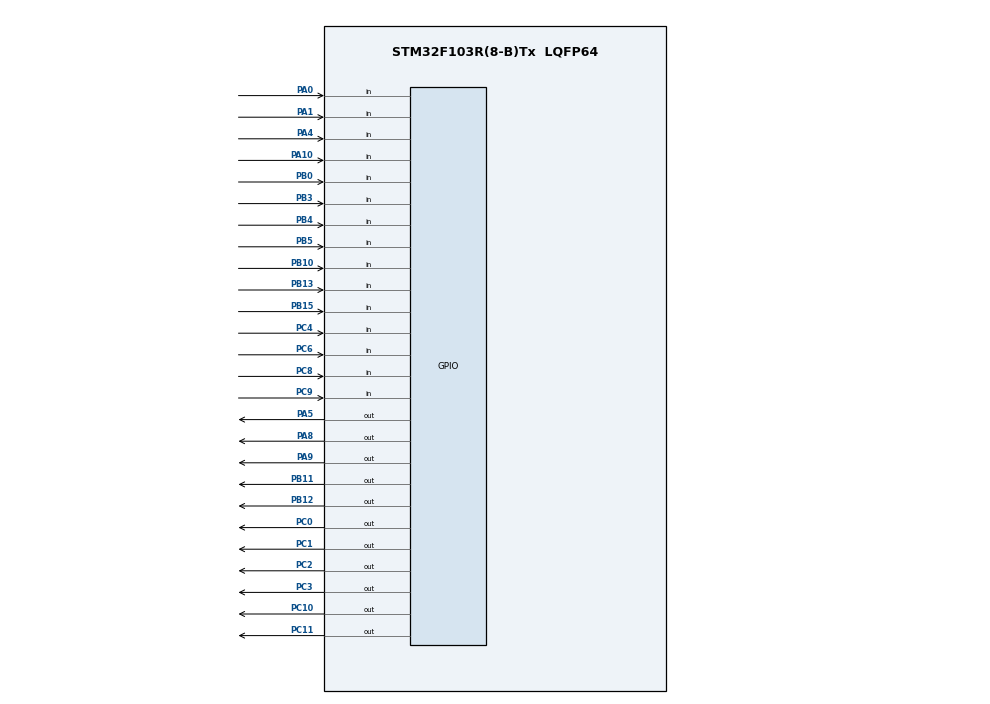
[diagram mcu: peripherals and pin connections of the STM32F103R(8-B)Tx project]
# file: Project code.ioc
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Mcu.Family=STM32F1
PC10.Signal=GPIO_Output
PC11.Signal=GPIO_Output
PC8.Signal=GPIO_Input
PC2.Signal=GPIO_Output
PC4.Signal=GPIO_Input
PC6.Signal=GPIO_Input
PC0.Signal=GPIO_Output
PB11.Signal=GPIO_Output
VP_SYS_VS_ND.Mode=No_Debug
PB15.Signal=GPIO_Input
PB13.Signal=GPIO_Input
ProjectManager.StackSize=0x400
PA0-WKUP.Signal=GPIO_Input
ProjectManager.TargetToolchain=STM32CubeIDE
PA9.Signal=GPIO_Output
PC3.Signal=GPIO_Output
TIM4.Prescaler=49999
PA1.Signal=GPIO_Input
PB10.Signal=GPIO_Input
PA5.Signal=GPIO_Output
board=custom
VP_TIM4_VS_no_output1.Mode=PWM Generation1 No Output
RCC.APB2Freq_Value=8000000
TIM4.Channel-PWM\ Generation1\ No\ Output=TIM_CHANNEL_1
PA8.Signal=GPIO_Output
TIM4.Period=4000
Mcu.Name=STM32F103R(8-B)Tx
PB3.Signal=GPIO_Input
PA4.Signal=GPIO_Input
Mcu.Package=LQFP64
PB5.Signal=GPIO_Input
PA10.Signal=GPIO_Input
ProjectManager.HeapSize=0x200
VP_TIM4_VS_ClockSourceINT.Mode=Internal
NVIC.PriorityGroup=NVIC_PRIORITYGROUP_4
RCC.APB1TimFreq_Value=8000000
PC9.Signal=GPIO_Input
RCC.APB1Freq_Value=8000000
PB0.Signal=GPIO_Input
PC1.Signal=GPIO_Output
PB12.Signal=GPIO_Output
PB4.Signal=GPIO_Input

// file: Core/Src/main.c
/* USER CODE BEGIN Header */
/**
 ******************************************************************************
 * @Authors        : Wangwe Paul | Gunjeet Dhaliwal | Gurinder Brar | Vitalii Andriievskyi
 * @file           : main.c
 * @brief          : Main program body
 * @Version	   : Version 1.0 - Rough code for the robot to move.
 		   : Version 1.1 - Coordination between motors and sensors was unsuccessful.
		   : Version 1.2 - Implementation and communincation between the two microcontrollers.
		   : Version 1.3 - The final version. Calibrating the sensors and motors all together.
 ******************************************************************************
 *Purpose: code used for the Semi-Autonomous UV-C Disinfectant Robot
 *Works like a state machine
 *state 1 idle state
 *state 2 check for motion
 *state 3 move robot foward
 *state 4 big right turn
 *state 5 minor left turn
 *state 6 minor right turn
 *state 7 big left turn
 *state 8 move robot in reverse
 **Port mapping
 *Motion Sensors(F,R,L,B)
 *Inputs : Front - PB10
 	   Left  - PB15
	   Right - PA10
	   Rear  - PB3
 *Ultrasonic Sensors(F,R,L,B)
 *Triggers/Outputs: Front - PC1
 		    Right - PC0
		    Left  - PC2
		    Rear  - PC3
 *Echo/Inputs:      Front - PB5
 		    Right - PB4
		    Left  - PB14
		    Rear  - PB13
 *Infrared sensors(FR, FL, BR, Bl)
 *Inputs: Front-Right - PA0
 	  Front-Left  - PA1
	  Rear-Right  - PA4
	  Rear-Left   - PB0
 *Motors
 *motors are controlled by another microcontorller
 *so the following ports are mutually exclusive
 *foward movement   - PC11
 *turing right      - PC10
 *turning left      - PB12
 *backward movement - PB11
 *stop              - PC12
 *pin used to sense if the extension cord is winding/unwinding.
 *winch pin         - PC4
 *pin used to indicate when the task to disinfect is complete.
 *end operation     - PC9
 *Light Control
 *When PA9 is high(motion detected, the UV-c light turns off
 ******************************************************************************
 */
/* USER CODE END Header */
#include "main.h"

TIM_HandleTypeDef htim4;

void SystemClock_Config(void);
static void MX_GPIO_Init(void);
static void MX_TIM4_Init(void);
/* USER CODE BEGIN PFP */
void Motors_Fw(void);
void Motors_Rv(void);
void Turn_R(void);
void Turn_L(void);
void Motors_Stp(void);
void Delay(uint32_t count);

uint16_t ultraSonicF(void);
uint16_t ultraSonicR(void);
uint16_t ultraSonicL(void);
uint16_t ultraSonicB(void);

int state = 1; //shows the state the robot is in
// 1 default state robot waits 5 minutes before turning on light
// 2 Robot can move
// 3 Robot stops to check surroundings
// 4 Robot turns because of obstacle ahead
// 5 Robot turns because of right ir sensor
// 6 Robot turns because of left ir sensor
// 7 Robot reversing

const uint32_t motorDelay = 480;
//used to control the delay of the motor
//higher -> slower rotation and lower -> faster rotation

const uint16_t defVal = 4000;
//used as default value for distance measurement using ultrasonic
//distance value will never be 4000

const uint16_t obstDistance = 16;
//maximum distance from robot to obstacle when moving ahead
const uint16_t obstDistance2 = 10;
//maximum distance from robot to obstacle when turning
const uint16_t turnDist = 150;
//maximum distance from robot to obstacle when turning

const uint16_t idleTime = 250;
//time the robot spend idle
const uint16_t moveTime = 10;
//time the robot spend moving foward or backward
const uint16_t turnTime=5;
//time the robot spends doing big turns
const uint16_t turnTime2=2;
//time the robot spends doing smaller turns
const uint16_t checkTime=6;
//time the robot spends checking for motion

/* USER CODE END PFP */

int main(void) {

	/* MCU Configuration--------------------------------------------------------*/

	/* Reset of all peripherals, Initializes the Flash interface and the Systick. */
	HAL_Init();

	/* Configure the system clock */
	SystemClock_Config();

	/* Initialize all configured peripherals */
	MX_GPIO_Init();
	MX_TIM4_Init();
	/* USER CODE BEGIN 2 */
	HAL_TIM_PWM_Start(&htim4, 1);
	int Secs = 0;
	// where 15 is approximately to 10 seconds
	int timcounter = 0;
	uint16_t frontDistance = 0;
	uint16_t rightDistance = 0;
	uint16_t leftDistance = 0;
	uint16_t backDistance = 0;
	/* USER CODE END 2 */

	/* Infinite loop */
	/* USER CODE BEGIN WHILE */
	while (1) {
		if (state == 1) {
			//TURN OFF UVC LIGHT
			HAL_GPIO_WritePin(GPIOA, GPIO_PIN_8, GPIO_PIN_RESET);
			Motors_Stp();
			Secs = 0; //reset counter used for timing
			__HAL_TIM_SET_COUNTER(&htim4, 0); //reset timer
			while (Secs <= idleTime) {
				timcounter = __HAL_TIM_GET_COUNTER(&htim4);
				if (timcounter > 105) {
					Secs++;
					__HAL_TIM_SET_COUNTER(&htim4, 0);
				}
			}
			//output from second microcontroller which is high when robot has gone foward and come back
			if (HAL_GPIO_ReadPin(GPIOC, GPIO_PIN_9)) {
				state = 1;
			} else {
				state = 2;
			}

		}
		if (state == 2) {

			Secs = 0; //reset counter used for timing
			Motors_Stp();
			__HAL_TIM_SET_COUNTER(&htim4, 0); //reset timer
			while (Secs <=checkTime) {
				if ((HAL_GPIO_ReadPin(GPIOB, GPIO_PIN_10))
						|| (HAL_GPIO_ReadPin(GPIOB, GPIO_PIN_15))
						|| (HAL_GPIO_ReadPin(GPIOB, GPIO_PIN_3))
						|| (HAL_GPIO_ReadPin(GPIOA, GPIO_PIN_10))) {
					state = 1;
					Secs = 8;
				}
				//checks if output from second microcontroller which goes high if all the extension cord has been uncound
				else if (HAL_GPIO_ReadPin(GPIOC, GPIO_PIN_4)) {
					state = 8;
				} else {
					state = 3;
				}
				timcounter = __HAL_TIM_GET_COUNTER(&htim4);
				if (timcounter > 105) {
					Secs++;
					__HAL_TIM_SET_COUNTER(&htim4, 0);
				}
			}
		}
		if (state == 3) {
			//TURN ON UVC LIGHT
			HAL_GPIO_WritePin(GPIOA, GPIO_PIN_8, GPIO_PIN_SET);
			Secs = 0; //reset counter used for timing
			__HAL_TIM_SET_COUNTER(&htim4, 0); //reset timer
			while (Secs <= moveTime) {
				Motors_Fw();
				if (Secs == 0 || Secs == 3 || Secs == 6) {
					Motors_Stp();
					frontDistance = ultraSonicF();
					rightDistance = ultraSonicF();
					leftDistance = ultraSonicF();
					if (frontDistance < obstDistance
							&& rightDistance > obstDistance2
							&& leftDistance > obstDistance2) {
						state = 4;
						Secs = moveTime+1;
					}
					if (frontDistance < obstDistance
							&& rightDistance > obstDistance2
							&& leftDistance < obstDistance2) {
						state = 4;
						Secs = moveTime+1;
					}
					if (frontDistance < obstDistance
							&& rightDistance < obstDistance2
							&& leftDistance > obstDistance2) {
						state = 7;
						Secs = moveTime+1;
					}

				}
				//front right IR sensor
				else if (!HAL_GPIO_ReadPin(GPIOA, GPIO_PIN_0)) {
					state = 5;
					Secs = moveTime+1;
				}
				// front left IR sensor
				else if (!HAL_GPIO_ReadPin(GPIOA, GPIO_PIN_1)) {
					state = 6;
					Secs = moveTime+1;
				}
				timcounter = __HAL_TIM_GET_COUNTER(&htim4);
				if (timcounter > 105) {
					Secs++;
					__HAL_TIM_SET_COUNTER(&htim4, 0);
				}
			}
			if (state == 3) {
				state = 2;
			}

		}

		if (state == 4) {
			Motors_Stp();
			HAL_Delay(2000);
			Secs = 0; //reset counter used for timing
			__HAL_TIM_SET_COUNTER(&htim4, 0); //reset timer
			while (Secs <= turnTime) {
				Turn_R();
				timcounter = __HAL_TIM_GET_COUNTER(&htim4);
				if (timcounter > 105) {
					Secs++;
					__HAL_TIM_SET_COUNTER(&htim4, 0);
				}
			}
			Motors_Stp();
			state = 2;
		}
		if (state == 5) {
			Motors_Stp();
			HAL_Delay(2000);
			Secs = 0; //reset counter used for timing
			__HAL_TIM_SET_COUNTER(&htim4, 0); //reset timer
			while (Secs <= turnTime2) {
				Turn_L();
				timcounter = __HAL_TIM_GET_COUNTER(&htim4);
				if (timcounter > 105) {
					Secs++;
					__HAL_TIM_SET_COUNTER(&htim4, 0);
				}
			}
			Motors_Stp();
			state = 2;
		}
		if (state == 6) {
			Motors_Stp();
			HAL_Delay(2000);
			Secs = 0; //reset counter used for timing
			__HAL_TIM_SET_COUNTER(&htim4, 0); //reset timer
			while (Secs <= TurnTime2) {
				Turn_R();
				timcounter = __HAL_TIM_GET_COUNTER(&htim4);
				if (timcounter > 105) {
					Secs++;
					__HAL_TIM_SET_COUNTER(&htim4, 0);
				}
			}
			Motors_Stp();
			state = 2;
		}
		if (state == 7) {
			Motors_Stp();
			HAL_Delay(2000);
			Secs = 0; //reset counter used for timing
			__HAL_TIM_SET_COUNTER(&htim4, 0); //reset timer
			while (Secs <=turnTime) {
				Turn_L();
				timcounter = __HAL_TIM_GET_COUNTER(&htim4);
				if (timcounter > 105) {
					Secs++;
					__HAL_TIM_SET_COUNTER(&htim4, 0);
				}
			}
			Motors_Stp();
			state = 2;
		}
		if (state == 8) {
			//TURN ON UVC LIGHT
			HAL_GPIO_WritePin(GPIOA, GPIO_PIN_8, GPIO_PIN_SET);
			Secs = 0; //reset counter used for timing
			__HAL_TIM_SET_COUNTER(&htim4, 0); //reset timer
			while (Secs <= moveTime) {
				Motors_Rv();
				if (Secs == 0 || Secs == 3 || Secs == 6) {
					Motors_Stp();
					backDistance = ultraSonicF();
					rightDistance = ultraSonicF();
					leftDistance = ultraSonicF();
					if (backDistance < obstDistance
							&& rightDistance > obstDistance2
							&& leftDistance > obstDistance2) {
						state = 4;
						Secs = moveTime+1;
					}
					if (backDistance < obstDistance
							&& rightDistance > obstDistance2
							&& leftDistance < obstDistance2) {
						state = 7;
						Secs = moveTime+1;
					}
					if (backDistance < obstDistance
							&& rightDistance < obstDistance2
							&& leftDistance > obstDistance2) {
						state = 4;
						Secs = moveTime+1;
					}
				}
				//back left IR sensor
				else if (!HAL_GPIO_ReadPin(GPIOA, GPIO_PIN_0)) {
					state = 5;
					Secs = moveTime+1;
				}
				//back right IR sensor
				else if (!HAL_GPIO_ReadPin(GPIOA, GPIO_PIN_1)) {
					state = 6;
					Secs = moveTime+1;
				}
				timcounter = __HAL_TIM_GET_COUNTER(&htim4);
				if (timcounter > 105) {
					Secs++;
					__HAL_TIM_SET_COUNTER(&htim4, 0);
				}
			}
			if (state == 8) {
				state = 2;
			}

		}

	}
	/* USER CODE END WHILE */

}

void SystemClock_Config(void) {
	RCC_OscInitTypeDef RCC_OscInitStruct = { 0 };
	RCC_ClkInitTypeDef RCC_ClkInitStruct = { 0 };

	/** Initializes the RCC Oscillators according to the specified parameters
	 * in the RCC_OscInitTypeDef structure.
	 */
	RCC_OscInitStruct.OscillatorType = RCC_OSCILLATORTYPE_HSI;
	RCC_OscInitStruct.HSIState = RCC_HSI_ON;
	RCC_OscInitStruct.HSICalibrationValue = RCC_HSICALIBRATION_DEFAULT;
	RCC_OscInitStruct.PLL.PLLState = RCC_PLL_NONE;
	if (HAL_RCC_OscConfig(&RCC_OscInitStruct) != HAL_OK) {
		Error_Handler();
	}
	/** Initializes the CPU, AHB and APB buses clocks
	 */
	RCC_ClkInitStruct.ClockType = RCC_CLOCKTYPE_HCLK | RCC_CLOCKTYPE_SYSCLK
			| RCC_CLOCKTYPE_PCLK1 | RCC_CLOCKTYPE_PCLK2;
	RCC_ClkInitStruct.SYSCLKSource = RCC_SYSCLKSOURCE_HSI;
	RCC_ClkInitStruct.AHBCLKDivider = RCC_SYSCLK_DIV1;
	RCC_ClkInitStruct.APB1CLKDivider = RCC_HCLK_DIV1;
	RCC_ClkInitStruct.APB2CLKDivider = RCC_HCLK_DIV1;

	if (HAL_RCC_ClockConfig(&RCC_ClkInitStruct, FLASH_LATENCY_0) != HAL_OK) {
		Error_Handler();
	}
}

static void MX_TIM4_Init(void) {

	TIM_ClockConfigTypeDef sClockSourceConfig = { 0 };
	TIM_MasterConfigTypeDef sMasterConfig = { 0 };
	TIM_OC_InitTypeDef sConfigOC = { 0 };

	htim4.Instance = TIM4;
	htim4.Init.Prescaler = 49999;
	htim4.Init.CounterMode = TIM_COUNTERMODE_UP;
	htim4.Init.Period = 4000;
	htim4.Init.ClockDivision = TIM_CLOCKDIVISION_DIV1;
	htim4.Init.AutoReloadPreload = TIM_AUTORELOAD_PRELOAD_DISABLE;
	if (HAL_TIM_Base_Init(&htim4) != HAL_OK) {
		Error_Handler();
	}
	sClockSourceConfig.ClockSource = TIM_CLOCKSOURCE_INTERNAL;
	if (HAL_TIM_ConfigClockSource(&htim4, &sClockSourceConfig) != HAL_OK) {
		Error_Handler();
	}
	if (HAL_TIM_PWM_Init(&htim4) != HAL_OK) {
		Error_Handler();
	}
	sMasterConfig.MasterOutputTrigger = TIM_TRGO_RESET;
	sMasterConfig.MasterSlaveMode = TIM_MASTERSLAVEMODE_DISABLE;
	if (HAL_TIMEx_MasterConfigSynchronization(&htim4, &sMasterConfig)
			!= HAL_OK) {
		Error_Handler();
	}
	sConfigOC.OCMode = TIM_OCMODE_PWM1;
	sConfigOC.Pulse = 0;
	sConfigOC.OCPolarity = TIM_OCPOLARITY_HIGH;
	sConfigOC.OCFastMode = TIM_OCFAST_DISABLE;
	if (HAL_TIM_PWM_ConfigChannel(&htim4, &sConfigOC, TIM_CHANNEL_1)
			!= HAL_OK) {
		Error_Handler();
	}

}

static void MX_GPIO_Init(void) {
	GPIO_InitTypeDef GPIO_InitStruct = { 0 };

	/* GPIO Ports Clock Enable */
	__HAL_RCC_GPIOC_CLK_ENABLE();
	__HAL_RCC_GPIOA_CLK_ENABLE();
	__HAL_RCC_GPIOB_CLK_ENABLE();

	/*Configure GPIO pin Output Level */
	HAL_GPIO_WritePin(GPIOC,
			GPIO_PIN_0 | GPIO_PIN_1 | GPIO_PIN_2 | GPIO_PIN_3 | GPIO_PIN_10
					| GPIO_PIN_11, GPIO_PIN_RESET);

	/*Configure GPIO pin Output Level */
	HAL_GPIO_WritePin(GPIOA, GPIO_PIN_5 | GPIO_PIN_8 | GPIO_PIN_9,
			GPIO_PIN_RESET);

	/*Configure GPIO pin Output Level */
	HAL_GPIO_WritePin(GPIOB, GPIO_PIN_11 | GPIO_PIN_12, GPIO_PIN_RESET);

	/*Configure GPIO pins : PC0 PC1 PC2 PC3
	 PC10 PC11 */
	GPIO_InitStruct.Pin = GPIO_PIN_0 | GPIO_PIN_1 | GPIO_PIN_2 | GPIO_PIN_3
			| GPIO_PIN_10 | GPIO_PIN_11;
	GPIO_InitStruct.Mode = GPIO_MODE_OUTPUT_PP;
	GPIO_InitStruct.Pull = GPIO_NOPULL;
	GPIO_InitStruct.Speed = GPIO_SPEED_FREQ_LOW;
	HAL_GPIO_Init(GPIOC, &GPIO_InitStruct);

	/*Configure GPIO pins : PA0 PA1 PA4 PA10 */
	GPIO_InitStruct.Pin =
	GPIO_PIN_0 | GPIO_PIN_1 | GPIO_PIN_4 | GPIO_PIN_10;
	GPIO_InitStruct.Mode = GPIO_MODE_INPUT;
	GPIO_InitStruct.Pull = GPIO_NOPULL;
	HAL_GPIO_Init(GPIOA, &GPIO_InitStruct);

	/*Configure GPIO pins : PA5 PA8 PA9 */
	GPIO_InitStruct.Pin = GPIO_PIN_5 | GPIO_PIN_8 | GPIO_PIN_9;
	GPIO_InitStruct.Mode = GPIO_MODE_OUTPUT_PP;
	GPIO_InitStruct.Pull = GPIO_NOPULL;
	GPIO_InitStruct.Speed = GPIO_SPEED_FREQ_LOW;
	HAL_GPIO_Init(GPIOA, &GPIO_InitStruct);

	/*Configure GPIO pins : PC4 PC6 PC8 PC9 */
	GPIO_InitStruct.Pin = GPIO_PIN_4 | GPIO_PIN_6 | GPIO_PIN_8 | GPIO_PIN_9;
	GPIO_InitStruct.Mode = GPIO_MODE_INPUT;
	GPIO_InitStruct.Pull = GPIO_NOPULL;
	HAL_GPIO_Init(GPIOC, &GPIO_InitStruct);

	/*Configure GPIO pins : PB0 PB10 PB13 PB15
	 PB3 PB4 PB5 */
	GPIO_InitStruct.Pin = GPIO_PIN_0 | GPIO_PIN_10 | GPIO_PIN_13 | GPIO_PIN_15
			| GPIO_PIN_3 | GPIO_PIN_4 | GPIO_PIN_5;
	GPIO_InitStruct.Mode = GPIO_MODE_INPUT;
	GPIO_InitStruct.Pull = GPIO_NOPULL;
	HAL_GPIO_Init(GPIOB, &GPIO_InitStruct);

	/*Configure GPIO pins : PB11 PB12 */
	GPIO_InitStruct.Pin = GPIO_PIN_11 | GPIO_PIN_12;
	GPIO_InitStruct.Mode = GPIO_MODE_OUTPUT_PP;
	GPIO_InitStruct.Pull = GPIO_NOPULL;
	GPIO_InitStruct.Speed = GPIO_SPEED_FREQ_LOW;
	HAL_GPIO_Init(GPIOB, &GPIO_InitStruct);

}

/* USER CODE BEGIN 4 */
void Delay(uint32_t count) {
	for (int i = 0; i < count; i++) {

	}
}
void Motors_Fw(void) {
	HAL_GPIO_WritePin(GPIOC, GPIO_PIN_11, GPIO_PIN_SET);
	HAL_GPIO_WritePin(GPIOC, GPIO_PIN_10, GPIO_PIN_RESET);
	HAL_GPIO_WritePin(GPIOB, GPIO_PIN_11, GPIO_PIN_RESET);
	HAL_GPIO_WritePin(GPIOB, GPIO_PIN_12, GPIO_PIN_RESET);
	HAL_GPIO_WritePin(GPIOC, GPIO_PIN_12, GPIO_PIN_RESET);
}
void Motors_Rv(void) {
	HAL_GPIO_WritePin(GPIOC, GPIO_PIN_11, GPIO_PIN_RESET);
	HAL_GPIO_WritePin(GPIOC, GPIO_PIN_10, GPIO_PIN_RESET);
	HAL_GPIO_WritePin(GPIOB, GPIO_PIN_11, GPIO_PIN_SET);
	HAL_GPIO_WritePin(GPIOB, GPIO_PIN_12, GPIO_PIN_RESET);
	HAL_GPIO_WritePin(GPIOC, GPIO_PIN_12, GPIO_PIN_RESET);
}
void Turn_L(void) {
	HAL_GPIO_WritePin(GPIOC, GPIO_PIN_11, GPIO_PIN_RESET);
	HAL_GPIO_WritePin(GPIOC, GPIO_PIN_10, GPIO_PIN_SET);
	HAL_GPIO_WritePin(GPIOB, GPIO_PIN_11, GPIO_PIN_RESET);
	HAL_GPIO_WritePin(GPIOB, GPIO_PIN_12, GPIO_PIN_RESET);
	HAL_GPIO_WritePin(GPIOC, GPIO_PIN_12, GPIO_PIN_RESET);
}
void Turn_R(void) {
	HAL_GPIO_WritePin(GPIOC, GPIO_PIN_11, GPIO_PIN_RESET);
	HAL_GPIO_WritePin(GPIOC, GPIO_PIN_10, GPIO_PIN_RESET);
	HAL_GPIO_WritePin(GPIOB, GPIO_PIN_11, GPIO_PIN_RESET);
	HAL_GPIO_WritePin(GPIOB, GPIO_PIN_12, GPIO_PIN_SET);
	HAL_GPIO_WritePin(GPIOC, GPIO_PIN_12, GPIO_PIN_RESET);
}
void Motors_Stp(void) {
	HAL_GPIO_WritePin(GPIOC, GPIO_PIN_11, GPIO_PIN_RESET);
	HAL_GPIO_WritePin(GPIOC, GPIO_PIN_10, GPIO_PIN_RESET);
	HAL_GPIO_WritePin(GPIOB, GPIO_PIN_11, GPIO_PIN_RESET);
	HAL_GPIO_WritePin(GPIOB, GPIO_PIN_12, GPIO_PIN_RESET);
	HAL_GPIO_WritePin(GPIOC, GPIO_PIN_12, GPIO_PIN_SET);
}
uint16_t ultraSonicR() {
	uint8_t status = 0;
	uint32_t distance = defVal;

	HAL_GPIO_WritePin(GPIOC, GPIO_PIN_0, GPIO_PIN_SET);
	HAL_Delay(0.001);
	HAL_GPIO_WritePin(GPIOC, GPIO_PIN_0, GPIO_PIN_RESET);
	HAL_Delay(0.01);

	if (HAL_GPIO_ReadPin(GPIOB, GPIO_PIN_4)) {
		status = 1;
		distance = 0;

		while (status == 1) {
			Delay(10);
			if (HAL_GPIO_ReadPin(GPIOB, GPIO_PIN_4)) {
				distance++;
			} else {
				status = 0;
			}
		}
	}

	return (distance);
}
uint16_t ultraSonicF() {
	uint8_t status = 0;
	uint32_t distance = defVal;

	HAL_GPIO_WritePin(GPIOC, GPIO_PIN_1, GPIO_PIN_SET);
	HAL_Delay(0.001);
	HAL_GPIO_WritePin(GPIOC, GPIO_PIN_1, GPIO_PIN_RESET);
	HAL_Delay(0.01);

	if (HAL_GPIO_ReadPin(GPIOB, GPIO_PIN_5)) {
		status = 1;
		distance = 0;

		while (status == 1) {
			Delay(10);
			if (HAL_GPIO_ReadPin(GPIOB, GPIO_PIN_5)) {
				distance++;
			} else {
				status = 0;
			}
//			if(distance>70)
//			{
//				status=0;
//				distance=defVal;
//			}
		}
	}
	return (distance);
}
uint16_t ultraSonicL() {
	uint8_t status = 0;
	uint32_t distance = defVal;

	HAL_GPIO_WritePin(GPIOC, GPIO_PIN_2, GPIO_PIN_SET);
	HAL_Delay(0.001);
	HAL_GPIO_WritePin(GPIOC, GPIO_PIN_2, GPIO_PIN_RESET);
	HAL_Delay(0.01);

	if (HAL_GPIO_ReadPin(GPIOB, GPIO_PIN_14)) {
		status = 1;
		distance = 0;

		while (status == 1) {
			Delay(10);
			if (HAL_GPIO_ReadPin(GPIOC, GPIO_PIN_14)) {
				distance++;
			} else {
				status = 0;
			}
		}
	}
	return (distance);
}
uint16_t ultraSonicB() {
	uint8_t status = 0;
	uint32_t distance = defVal;
	HAL_GPIO_WritePin(GPIOC, GPIO_PIN_3, GPIO_PIN_SET);
	HAL_Delay(0.001);
	HAL_GPIO_WritePin(GPIOC, GPIO_PIN_3, GPIO_PIN_RESET);
	HAL_Delay(0.01);

	if (HAL_GPIO_ReadPin(GPIOB, GPIO_PIN_13)) {
		status = 1;

		while (status == 1) {
			Delay(10);
			//HAL_Delay(1);
			if (HAL_GPIO_ReadPin(GPIOB, GPIO_PIN_13)) {
				distance++;
			} else {
				status = 0;
			}
		}
	}
	return (distance);
}
/* USER CODE END 4 */

void Error_Handler(void) {
	__disable_irq();
	while (1) {
	}
}

/************************ (C) COPYRIGHT STMicroelectronics *****END OF FILE****/
